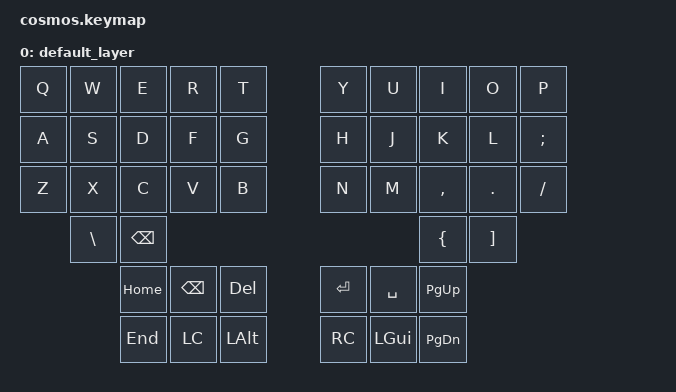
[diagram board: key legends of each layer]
#include <behaviors.dtsi>
#include <dt-bindings/zmk/keys.h>
#include <dt-bindings/zmk/bt.h>
#include <dt-bindings/zmk/outputs.h>

#define BASE 0


&sl {
    release-after-ms = <5000>;
};


&kscan0 {
    debounce-press-ms = <30>;
    debounce-release-ms = <30>;
};

/ {
    keymap {
        compatible = "zmk,keymap";

        default_layer {       
            bindings = <     
               &kp Q  &kp W     &kp E     &kp R    &kp T                &kp Y      &kp U      &kp I      &kp O    &kp P
               &kp A  &kp S     &kp D     &kp F    &kp G                &kp H      &kp J      &kp K      &kp L    &kp SEMI
               &kp Z  &kp X     &kp C     &kp V    &kp B                &kp N      &kp M      &kp COMMA  &kp DOT  &kp FSLH
                      &kp BSLH  &kp BSPC                                                      &kp LBRC   &kp RBKT
                                &kp HOME  &kp BSPC &kp DEL              &kp ENTER  &kp SPACE  &kp PG_UP
                                &kp END   &kp LC   &kp LALT             &kp RC     &kp LGUI   &kp PG_DN
            >;
        };
    };


};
